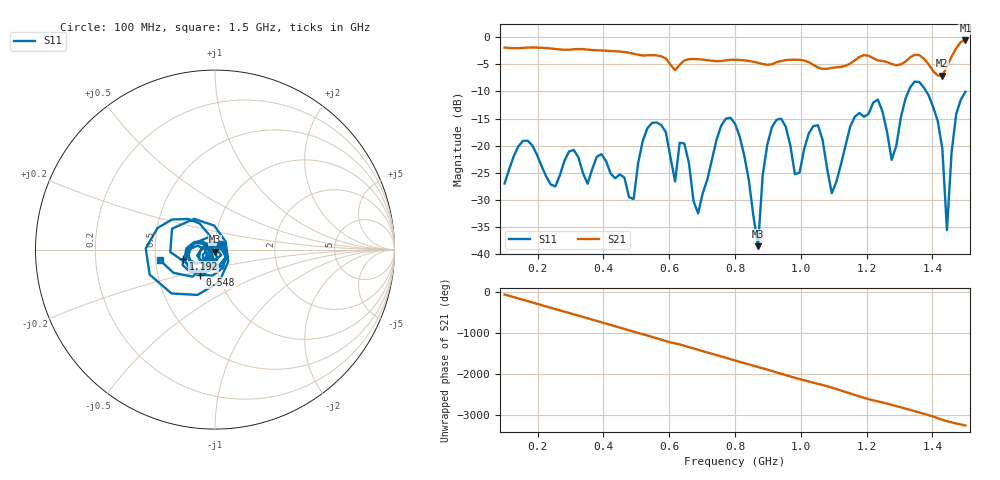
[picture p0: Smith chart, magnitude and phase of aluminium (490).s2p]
! NanoVNA-App
! Date: 2025-09-25 14:59:06
! Start: 100MHz Stop: 1,5GHz Points: 101
! S-Parameter data: F S11 S21 S12 S22
# Hz S RI R 50
!  Frequency  S11_Real  S11_Imag  S21_Real  S21_Imag  S12_Real  S12_Imag  S22_Real  S22_Imag
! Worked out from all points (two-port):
!   101 points, 100 MHz to 1.5 GHz, reference 50 ohm
!   highest |S21| = -0.61 dB at 1.5 GHz (marker M1); lowest = -7.1 dB at 1.43 GHz (marker M2)
!   |S21| within 3 dB of the highest: start of sweep to 578.3 MHz; 1.458 GHz to end of sweep (the widest 2 of 4)
!   lowest |S11| = -38.5 dB at 870 MHz (marker M3), VSWR 1.02, Z = 50.2 - j1.17 ohm
!   |S11| at or under -10 dB: start of sweep to 1.327 GHz; 1.381 GHz to end of sweep
!   S12 and S22 are empty: the file has one direction only
!   S11 on the Smith chart (normalised r, x): 100 MHz: 1.07, +0.06; 548 MHz: 0.82, -0.23; 1.192 GHz: 0.70, -0.08; 1.5 GHz: 0.53, -0.07
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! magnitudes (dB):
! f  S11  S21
! 100 MHz  -27.0  -1.9
! 156 MHz  -19.1  -2.0
! 338 MHz  -25.0  -2.2
! 492 MHz  -29.8  -3.1
! 548 MHz  -15.8  -3.3
! 576 MHz  -16.2  -3.5
! 646 MHz  -19.6  -4.3
! 688 MHz  -32.5  -4.1
! 800 MHz  -15.9  -4.1
! 870 MHz  -38.5  -4.7
! 912 MHz  -16.6  -5.0
! 982 MHz  -25.2  -4.1
! 1.038 GHz  -16.4  -5.1
! 1.094 GHz  -28.8  -5.7
! 1.192 GHz  -14.7  -3.3
! 1.234 GHz  -11.5  -4.3
! 1.276 GHz  -22.6  -5.0
! 1.346 GHz  -8.2  -3.3
! 1.43 GHz  -20.6  -7.1
! 1.444 GHz  -35.6  -5.4
! 1.472 GHz  -14.2  -2.1
! 1.5 GHz  -10.1  -0.6
